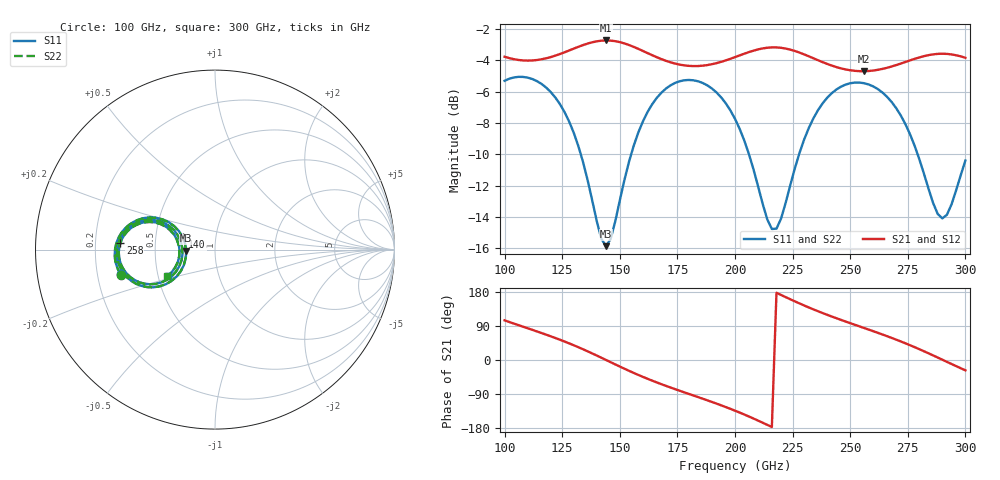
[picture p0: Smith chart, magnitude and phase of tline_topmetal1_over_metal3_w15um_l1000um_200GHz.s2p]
#  GHZ S DB R 50
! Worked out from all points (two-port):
!   101 points, 100 GHz to 300 GHz, reference 50 ohm
!   highest |S21| = -2.72 dB at 144 GHz (marker M1); lowest = -4.7 dB at 256 GHz (marker M2)
!   |S21| within 3 dB of the highest: start of sweep to end of sweep
!   lowest |S11| = -15.9 dB at 144 GHz (marker M3), VSWR 1.38, Z = 36.2 - j0.507 ohm
!   |S11| at or under -10 dB: 133.1 GHz to 154.9 GHz (21.9 GHz wide, 15.2 % of centre); 206.1 GHz to 227.8 GHz (21.77 GHz wide, 10 % of centre); 279.3 GHz to end of sweep
!   |S22| runs from -15.8 to -5.0 dB; largest |S21 - S12| = 7.6e-14
!   S11 on the Smith chart (normalised r, x): 100 GHz: 0.30, -0.12; 140 GHz: 0.69, +0.10; 258 GHz: 0.31, +0.03; 300 GHz: 0.56, -0.18
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100  -5.30 -165.2  -3.76 104.6  -3.76 104.6  -5.30 -165.2
116  -5.50 170.2  -3.93 71.2  -3.93 71.2  -5.49 170.2
126  -7.30 155.9  -3.48 48.8  -3.48 48.8  -7.29 156.0
134  -10.47 149.3  -3.02 28.5  -3.02 28.5  -10.46 149.5
140  -14.28 158.9  -2.78 11.7  -2.78 11.7  -14.25 159.0
144  -15.88 -177.6  -2.72 0.1  -2.72 0.1  -15.84 -177.5
156  -9.47 -144.9  -3.13 -34.0  -3.13 -34.0  -9.47 -144.9
168  -6.07 -159.4  -3.91 -63.7  -3.91 -63.7  -6.07 -159.4
184  -5.33 177.3  -4.35 -98.0  -4.35 -98.0  -5.33 177.3
200  -7.73 156.2  -3.79 -133.7  -3.79 -133.7  -7.73 156.2
208  -10.95 152.8  -3.37 -154.4  -3.37 -154.4  -10.95 152.9
216  -14.78 176.8  -3.16 -176.9  -3.16 -176.9  -14.76 176.9
220  -14.12 -161.7  -3.19 171.6  -3.19 171.6  -14.10 -161.7
224  -11.97 -150.3  -3.31 160.3  -3.31 160.3  -11.96 -150.3
234  -7.71 -152.0  -3.86 133.7  -3.86 133.7  -7.71 -152.0
246  -5.68 -167.5  -4.51 105.8  -4.51 105.8  -5.67 -167.4
256  -5.45 178.7  -4.69 84.5  -4.69 84.5  -5.45 178.9
258  -5.53 176.0  -4.67 80.3  -4.67 80.3  -5.53 176.2
268  -6.66 163.1  -4.38 58.3  -4.38 58.3  -6.65 163.3
278  -9.47 154.7  -3.90 33.8  -3.90 33.8  -9.46 155.0
290  -14.10 -178.4  -3.57 0.7  -3.57 0.7  -14.06 -178.3
300  -10.40 -151.0  -3.83 -27.2  -3.83 -27.2  -10.38 -151.1
